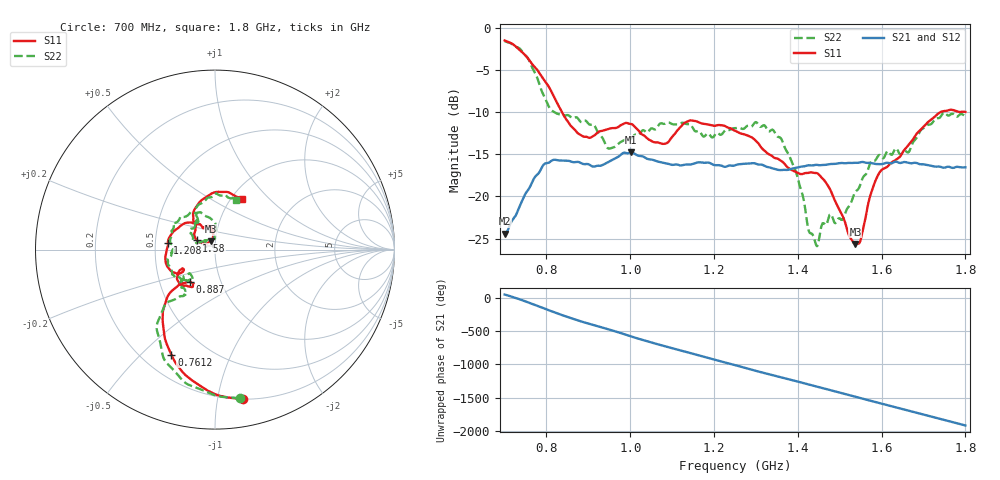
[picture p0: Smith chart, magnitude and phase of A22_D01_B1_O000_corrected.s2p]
! Created with skrf 1.9.0 (http://scikit-rf.org).
# Hz S RI R 50.0
!freq ReS11 ImS11 ReS21 ImS21 ReS12 ImS12 ReS22 ImS22
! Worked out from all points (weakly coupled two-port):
!   1601 points, 700 MHz to 1.8 GHz, reference 50 ohm
!   highest |S21| = -14.76 dB at 1.002 GHz (marker M1); lowest = -24.4 dB at 700 MHz (marker M2)
!   lowest |S11| = -25.6 dB at 1.537 GHz (marker M3), VSWR 1.11, Z = 47.4 + j4.41 ohm
!   |S11| at or under -10 dB: 837.4 MHz to 1.739 GHz (901.7 MHz wide, 70 % of centre)
!   |S22| runs from -25.9 to -1.5 dB; largest |S21 - S12| = 0.0036
!   S11 on the Smith chart (normalised r, x): 700 MHz: 0.20, -1.19; 761.2 MHz: 0.32, -0.62; 887 MHz: 0.71, -0.27; 1.208 GHz: 0.58, +0.05; 1.58 GHz: 0.81, +0.08; 1.8 GHz: 1.11, +0.70
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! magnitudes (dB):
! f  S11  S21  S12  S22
! 700 MHz  -1.4  -24.4  -24.2  -1.5
! 761.2 MHz  -4.0  -18.8  -18.7  -4.1
! 810.7 MHz  -7.4  -15.8  -15.7  -9.7
! 883.6 MHz  -12.7  -16.1  -15.9  -11.2
! 887 MHz  -12.8  -16.1  -16.0  -11.1
! 948.9 MHz  -11.9  -15.9  -15.9  -14.3
! 1.002 GHz  -11.4  -14.8  -14.9  -13.1
! 1.067 GHz  -13.6  -15.9  -15.8  -11.5
! 1.14 GHz  -11.0  -16.2  -16.2  -11.4
! 1.208 GHz  -11.5  -16.3  -16.3  -12.4
! 1.25 GHz  -12.2  -16.3  -16.2  -11.9
! 1.359 GHz  -15.7  -16.9  -16.9  -13.1
! 1.396 GHz  -17.1  -16.6  -16.6  -17.1
! 1.434 GHz  -17.1  -16.3  -16.3  -24.4
! 1.446 GHz  -17.2  -16.2  -16.3  -25.9
! 1.537 GHz  -25.6  -16.0  -16.0  -19.5
! 1.55 GHz  -25.1  -15.9  -15.9  -18.4
! 1.58 GHz  -18.8  -16.1  -16.1  -15.7
! 1.617 GHz  -16.3  -16.0  -16.0  -14.7
! 1.664 GHz  -13.9  -16.0  -16.0  -14.8
! 1.737 GHz  -10.1  -16.4  -16.5  -10.7
! 1.8 GHz  -9.9  -16.5  -16.5  -10.4
